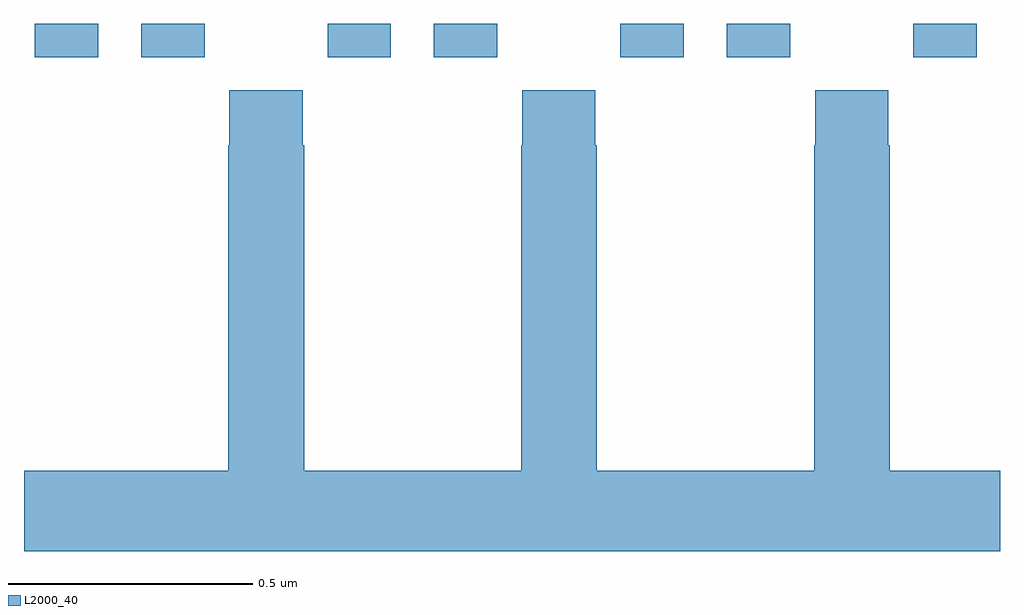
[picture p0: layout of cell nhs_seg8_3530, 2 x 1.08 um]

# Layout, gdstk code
import gdstk
lib = gdstk.Library(unit=1e-6, precision=1e-09)
def R(c, l, rs):  # rectangles x0, y0, x1, y1
    for r in rs: c.add(gdstk.rectangle(r[:2], r[2:], *l))
def P(c, l, *ps):  # polygons
    for p in ps: c.add(gdstk.Polygon(p, *l))
L2000_40 = (2000, 40)

nhs_seg8_3530 = lib.new_cell('nhs_seg8_3530')
R(nhs_seg8_3530, L2000_40, [(158.022,1130.832,158.152,1130.9), (158.24,1130.832,158.37,1130.9), (158.622,1130.832,158.752,1130.9), (158.84,1130.832,158.97,1130.9), (159.222,1130.832,159.352,1130.9), (159.44,1130.832,159.57,1130.9), (159.822,1130.832,159.952,1130.9)])
P(nhs_seg8_3530, L2000_40, [(160,1129.984),(159.774,1129.984),(159.774,1130.651),(159.771,1130.651),(159.771,1130.764),(159.621,1130.764),(159.621,1130.651),(159.619,1130.651),(159.619,1129.984),(159.174,1129.984),(159.174,1130.651),(159.171,1130.651),(159.171,1130.764),(159.021,1130.764),(159.021,1130.651),(159.019,1130.651),(159.019,1129.984),(158.574,1129.984),(158.574,1130.651),(158.571,1130.651),(158.571,1130.764),(158.421,1130.764),(158.421,1130.651),(158.419,1130.651),(158.419,1129.984),(158,1129.984),(158,1129.82),(160,1129.82)])

lib.write_gds('nhs_seg8_3530.gds')
